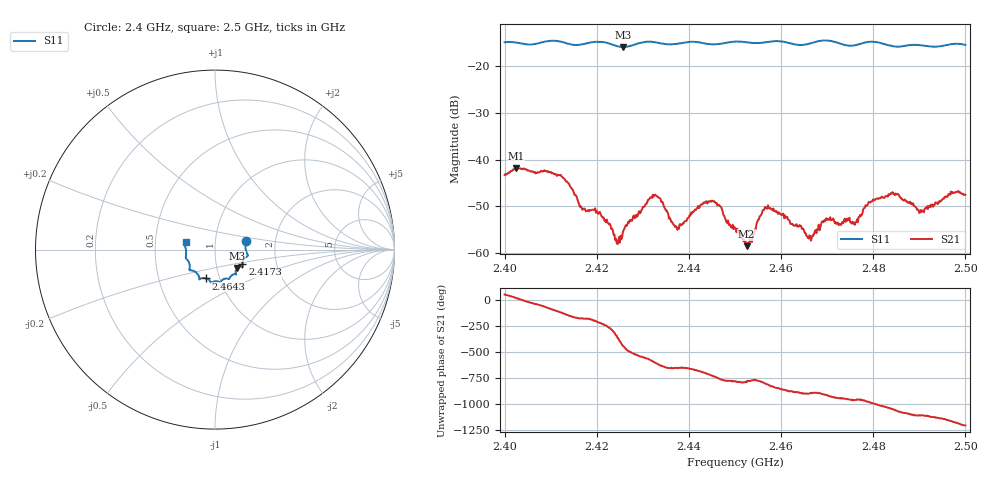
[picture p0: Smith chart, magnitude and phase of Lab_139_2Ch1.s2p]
# Hz S RI R 50
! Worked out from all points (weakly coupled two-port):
!   601 points, 2.4 GHz to 2.5 GHz, reference 50 ohm
!   highest |S21| = -41.84 dB at 2.4025 GHz (marker M1); lowest = -58.5 dB at 2.4525 GHz (marker M2)
!   lowest |S11| = -15.9 dB at 2.4257 GHz (marker M3), VSWR 1.38, Z = 62.5 - j13.1 ohm
!   |S11| at or under -10 dB: start of sweep to end of sweep
!   S12 and S22 are empty: the file has one direction only
!   S11 on the Smith chart (normalised r, x): 2.4 GHz: 1.41, +0.14; 2.4173 GHz: 1.34, -0.23; 2.4643 GHz: 0.86, -0.28; 2.5 GHz: 0.72, +0.06
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2.4e9  0.1732 0.0492  0.00437 0.00526  0 0  0 0
2.4025e9  0.1749 0.0379  0.00772 0.00243  0 0  0 0
2.412333e9  0.1781 -0.0379  -0.00368 -0.00553  0 0  0 0
2.416667e9  0.153 -0.0747  -0.0031 -0.000126  0 0  0 0
2.417333e9  0.1522 -0.0821  -0.003 1.96e-05  0 0  0 0
2.421e9  0.154 -0.0963  -0.00177 0.00177  0 0  0 0
2.4245e9  0.132 -0.0956  0.00124 -0.000103  0 0  0 0
2.425667e9  0.1229 -0.1023  0.000337 -0.00165  0 0  0 0
2.433333e9  0.1126 -0.1369  -0.000893 0.00383  0 0  0 0
2.437333e9  0.0855 -0.1505  0.000688 0.00176  0 0  0 0
2.445e9  0.0556 -0.1617  0.00363 -0.000308  0 0  0 0
2.45e9  0.0294 -0.1807  0.000957 -0.00157  0 0  0 0
2.4525e9  0.0204 -0.1785  0.000403 -0.00111  0 0  0 0
2.456833e9  -0.0123 -0.1801  0.000143 -0.00301  0 0  0 0
2.464333e9  -0.05 -0.1607  -0.00194 -0.000238  0 0  0 0
2.466667e9  -0.0759 -0.1596  -0.00147 -0.000168  0 0  0 0
2.470167e9  -0.0873 -0.1659  -0.00224 0.000593  0 0  0 0
2.476167e9  -0.1181 -0.119  -0.00113 0.00179  0 0  0 0
2.478833e9  -0.1399 -0.1153  -0.000877 0.00321  0 0  0 0
2.483333e9  -0.1407 -0.09  0.00287 0.00316  0 0  0 0
2.4905e9  -0.1622 -0.0379  0.00255 -0.00106  0 0  0 0
2.5e9  -0.1637 0.0418  -0.00218 -0.00359  0 0  0 0
